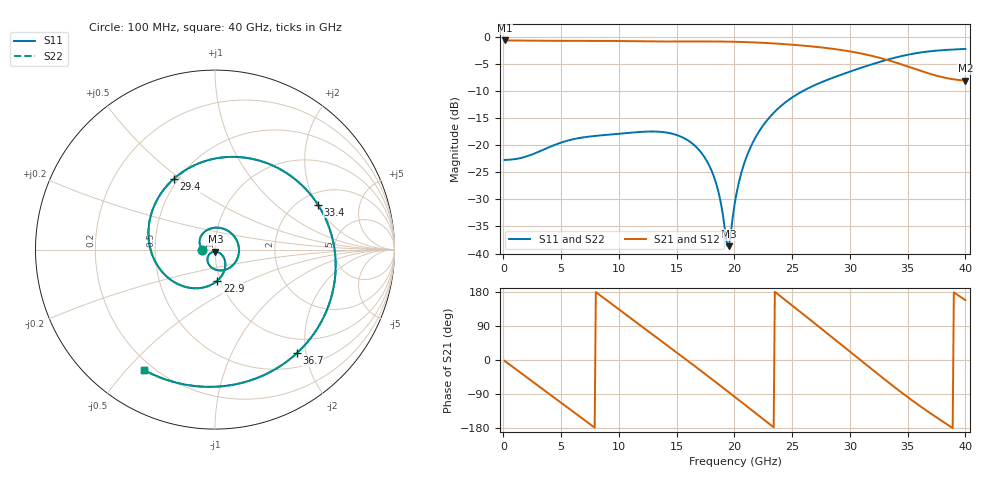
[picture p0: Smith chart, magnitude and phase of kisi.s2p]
! A_s4_d300_ap600: L1→L4 through L2/L3, drill Ø0.3, antipad Ø0.6, 4 GND vias at 1 mm
! stackup: 4-layer 1.6 mm FR-4
! ports: 1, 2
! kisi-fdtd, conformal, dfine 0.035 mm, 457125 cells
# Hz S RI R 50
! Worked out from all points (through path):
!   400 points, 100 MHz to 40 GHz, reference 50 ohm
!   highest |S21| = -0.61 dB at 100 MHz (marker M1); lowest = -8.0 dB at 40 GHz (marker M2)
!   group delay of S21, straight-line fit = 65 ps
!   lowest |S11| = -38.6 dB at 19.5 GHz (marker M3), VSWR 1.02, Z = 50.2 - j1.16 ohm
!   |S11| at or under -10 dB: start of sweep to 25.89 GHz
!   |S22| runs from -38.6 to -2.2 dB; largest |S21 - S12| = 1.4e-07
!   S11 on the Smith chart (normalised r, x): 100 MHz: 0.86, +0.00; 22.9 GHz: 0.96, -0.35; 29.4 GHz: 0.47, +0.47; 33.4 GHz: 2.49, +2.05; 36.7 GHz: 0.73, -1.84; 40 GHz: 0.16, -0.56
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1e8  -0.0733 0.000541  0.9315 -0.037  0.9315 -0.037  -0.0733 0.000541
1.7e9  -0.0766 0.0102  0.7271 -0.5796  0.7271 -0.5796  -0.0766 0.0102
3.6e9  -0.0857 0.0352  0.139 -0.9152  0.139 -0.9152  -0.0857 0.0352
5.1e9  -0.0796 0.0715  -0.3927 -0.8377  -0.3927 -0.8377  -0.0796 0.0715
6.8e9  -0.0406 0.1108  -0.8291 -0.4123  -0.8291 -0.4123  -0.0406 0.1108
8.6e9  0.028 0.1209  -0.8951 0.2312  -0.8951 0.2312  0.028 0.1209
1.06e10  0.1047 0.0766  -0.4599 0.7957  -0.4599 0.7957  0.1047 0.0766
1.34e10  0.1183 -0.0625  0.5039 0.7603  0.5039 0.7603  0.1183 -0.0625
1.63e10  -0.0129 -0.1042  0.8988 -0.1571  0.8988 -0.1571  -0.0129 -0.1042
1.82e10  -0.0381 -0.0356  0.5345 -0.7392  0.5345 -0.7392  -0.0381 -0.0356
1.95e10  0.00185 -0.0115  0.0835 -0.905  0.0835 -0.905  0.00185 -0.0115
2.01e10  0.0259 -0.0191  -0.1406 -0.8951  -0.1406 -0.8951  0.0259 -0.0191
2.12e10  0.0559 -0.0653  -0.5164 -0.7355  -0.5164 -0.7355  0.0559 -0.0653
2.29e10  0.0123 -0.1739  -0.8541 -0.2181  -0.8541 -0.2181  0.0123 -0.1739
2.46e10  -0.1484 -0.2116  -0.7682 0.3826  -0.7682 0.3826  -0.1484 -0.2116
2.67e10  -0.3482 -0.0334  -0.1818 0.8009  -0.1818 0.8009  -0.3482 -0.0334
2.94e10  -0.2307 0.3935  0.6054 0.454  0.6054 0.454  -0.2307 0.3935
3.12e10  0.1236 0.516  0.6924 -0.089  0.6924 -0.089  0.1236 0.516
3.34e10  0.5734 0.2506  0.2983 -0.5302  0.2983 -0.5302  0.5734 0.2506
3.5e10  0.6681 -0.1627  -0.0736 -0.5314  -0.0736 -0.5314  0.6681 -0.1627
3.67e10  0.4561 -0.5771  -0.3298 -0.33  -0.3298 -0.33  0.4561 -0.5771
4e10  -0.3959 -0.6707  -0.3674 0.1482  -0.3674 0.1482  -0.3959 -0.6707
